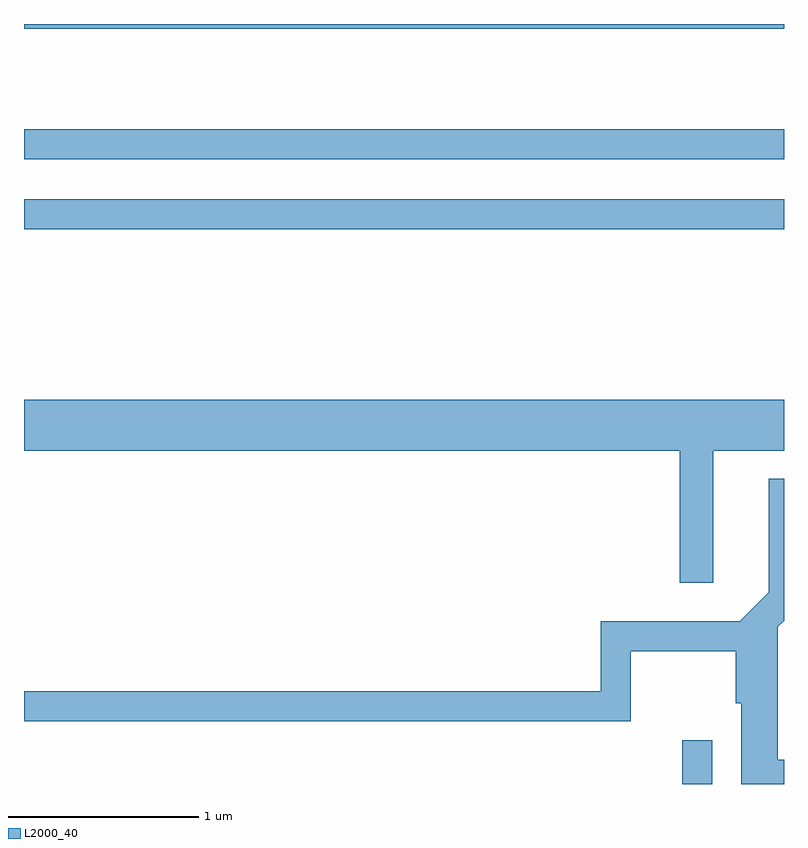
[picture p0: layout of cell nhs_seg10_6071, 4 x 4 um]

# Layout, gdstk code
import gdstk
lib = gdstk.Library(unit=1e-6, precision=1e-09)
def R(c, l, rs):  # rectangles x0, y0, x1, y1
    for r in rs: c.add(gdstk.rectangle(r[:2], r[2:], *l))
def P(c, l, *ps):  # polygons
    for p in ps: c.add(gdstk.Polygon(p, *l))
L2000_40 = (2000, 40)

nhs_seg10_6071 = lib.new_cell('nhs_seg10_6071')
R(nhs_seg10_6071, L2000_40, [(367.076,2196.522,367.234,2196.753), (363.611,2199.441,367.611,2199.599), (363.611,2199.811,367.611,2199.969), (363.611,2200.496,367.611,2200.522)])
P(nhs_seg10_6071, L2000_40, [(367.239,2198.276),(367.611,2198.276),(367.611,2198.544),(363.611,2198.544),(363.611,2198.276),(367.061,2198.276),(367.061,2197.581),(367.239,2197.581)],
  [(367.611,2196.649),(367.579,2196.649),(367.579,2197.349),(367.611,2197.381),(367.611,2198.128),(367.531,2198.128),(367.531,2197.532),(367.379,2197.379),(366.646,2197.379),(366.646,2197.009),(363.611,2197.009),(363.611,2196.851),(366.804,2196.851),(366.804,2197.221),(367.356,2197.221),(367.356,2196.946),(367.386,2196.946),(367.386,2196.522),(367.611,2196.522)])

lib.write_gds('nhs_seg10_6071.gds')
